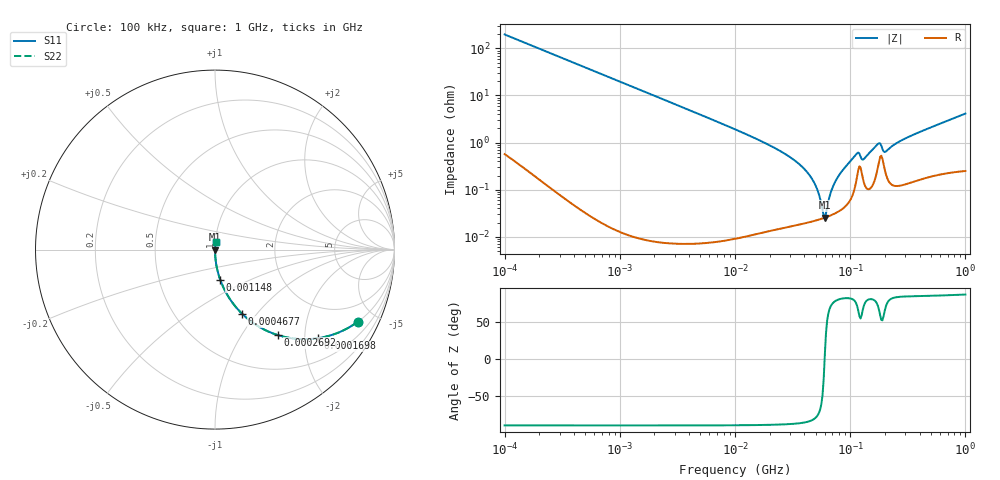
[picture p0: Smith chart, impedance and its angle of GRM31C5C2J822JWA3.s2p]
!Murata Part Number: GRM31C5C2J822JWA3
!These Parameters are Measured in Series Mode Connection
!Data Generated on Mar 30, 2021
!  o--ll--o
!Port1  Port2
!  o------o
!Operation Temp=25[degC], DC Bias Voltage=0[V]
!Freq. Start=100[kHz] Stop=1000[MHz] 401[Steps]
# Hz S RI R 50
!Freq.(Hz) S11(Real) S11(Imag) S21(Real) S21(Imag) S12(Real) S12(Imag) S22(Real) S22(Imag)
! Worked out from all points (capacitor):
!   401 points, 100 kHz to 1 GHz, reference 50 ohm
!   read as one part in series: C = 8.08 nF near 104.7 kHz
!   lowest |Z| = 25.6 mohm at 60.26 MHz (marker M1)
!   series resonance near 60.02 MHz, so ESL is about 870 pH
!   S11 on the Smith chart (normalised r, x): 100 kHz: 1.01, -3.94; 169.8 kHz: 1.00, -2.32; 269.2 kHz: 1.00, -1.47; 467.7 kHz: 1.00, -0.84; 1.148 MHz: 1.00, -0.34; 1 GHz: 1.00, +0.08
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100000  0.7944 -0.4027  0.2056 0.4027  0.2056 0.4027  0.7944 -0.4027
169824  0.5739 -0.4936  0.4261 0.4936  0.4261 0.4936  0.5739 -0.4936
269153  0.3495 -0.4762  0.6505 0.4762  0.6505 0.4762  0.3495 -0.4762
467735  0.1511 -0.3578  0.8489 0.3578  0.8489 0.3578  0.1511 -0.3578
1148154  0.0287 -0.1668  0.9713 0.1668  0.9713 0.1668  0.0287 -0.1668
2187762  0.00811 -0.0893  0.9919 0.0893  0.9919 0.0893  0.00811 -0.0893
1e7  0.000457 -0.0191  0.9995 0.0191  0.9995 0.0191  0.000457 -0.0191
2.884032e7  0.000189 -0.00524  0.9998 0.00524  0.9998 0.00524  0.000189 -0.00524
3.801894e7  0.000197 -0.00311  0.9998 0.00311  0.9998 0.00311  0.000197 -0.00311
4.677351e7  0.000214 -0.00166  0.9998 0.00166  0.9998 0.00166  0.000214 -0.00166
5.128614e7  0.000226 -0.00104  0.9998 0.00104  0.9998 0.00104  0.000226 -0.00104
5.754399e7  0.000245 -0.00028  0.9998 0.00028  0.9998 0.00028  0.000245 -0.00028
6.025596e7  0.000255 2.69e-05  0.9997 -2.69e-05  0.9997 -2.69e-05  0.000255 2.69e-05
6.91831e7  0.000292 0.00096  0.9997 -0.00096  0.9997 -0.00096  0.000292 0.00096
7.585776e7  0.000327 0.00161  0.9997 -0.00161  0.9997 -0.00161  0.000327 0.00161
1.122018e8  0.00144 0.00535  0.9986 -0.00535  0.9986 -0.00535  0.00144 0.00535
1.318257e8  0.0014 0.00429  0.9986 -0.00429  0.9986 -0.00429  0.0014 0.00429
1.737801e8  0.00304 0.00879  0.997 -0.00879  0.997 -0.00879  0.00304 0.00879
1.995262e8  0.0027 0.00567  0.9973 -0.00567  0.9973 -0.00567  0.0027 0.00567
2.187762e8  0.00149 0.0074  0.9985 -0.0074  0.9985 -0.0074  0.00149 0.0074
3.388442e8  0.00161 0.0139  0.9984 -0.0139  0.9984 -0.0139  0.00161 0.0139
1e9  0.00417 0.0409  0.9958 -0.0409  0.9958 -0.0409  0.00417 0.0409
